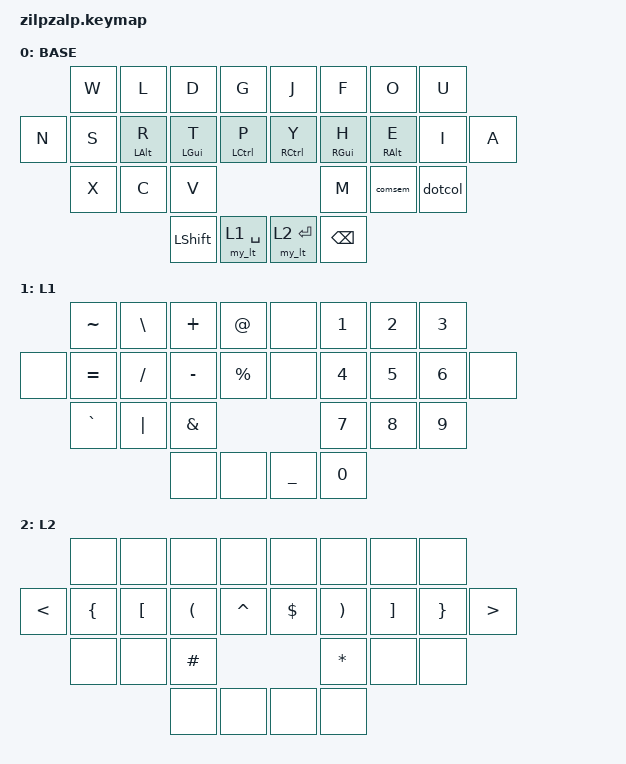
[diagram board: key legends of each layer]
// zilpzalp key numbers
//     __________________________  __________________________
//    /     0  |  1  |  2  |  3  \/   4 |   5 |   6 |   7    \
// |  8  |  9  | 10  | 11  | 12  /\  13 |  14 |  15 |  16 | 17  |
//    \    18  | 19  | 20    /        \    21 |  22 |  23   /
//          \    24  | 25  /            \  26 |  27    /
//           --------------              --------------

#ifdef ZILPZALP_BLE_FLAG
#include <dt-bindings/zmk/bt.h>
#include <dt-bindings/zmk/outputs.h>
#endif
#include "base_zilpzalp.h"

/ {
    keymap {
        compatible = "zmk,keymap";
        middlemak_nh {
            label = "BASE";
            bindings = <
                      &kp W &kp L      &kp D       &kp G          &kp J       &kp F      &kp O      &kp U
                &kp N &kp S &ht LALT R &ht LGUI T  &ht LCTRL P    &ht RCTRL Y &ht RGUI H &ht RALT E &kp I   &kp A
                      &kp X &kp C      &kp V                                  &kp M      &comsem    &dotcol
                                     &kp LSHFT &my_lt L1 SPACE    &my_lt L2 ENTER &kp BKSP
            >;
        };
        layer1 {
            label = "L1";
            bindings = <
                      &kp TILDE &kp BSLH &kp PLUS  &kp AT       &none &kp N1 &kp N2 &kp N3
                &none &kp EQUAL &kp FSLH &kp MINUS &kp PRCNT    &none &kp N4 &kp N5 &kp N6 &none
                      &kp GRAVE &kp PIPE &kp AMPS                     &kp N7 &kp N8 &kp N9
                                &none              &none        &kp UNDER    &kp N0
            >;
        };
        layer2 {
            label = "L2";
            bindings = <
                       &none    &none    &none     &none        &none    &none    &none    &none
                &kp LT &kp LBRC &kp LBKT &kp LPAR  &kp CARET    &kp DLLR &kp RPAR &kp RBKT &kp RBRC &kp GT
                       &none    &none    &kp HASH                        &kp STAR &none    &none
                                &none              &none        &none             &none
            >;
        };
    };
};
